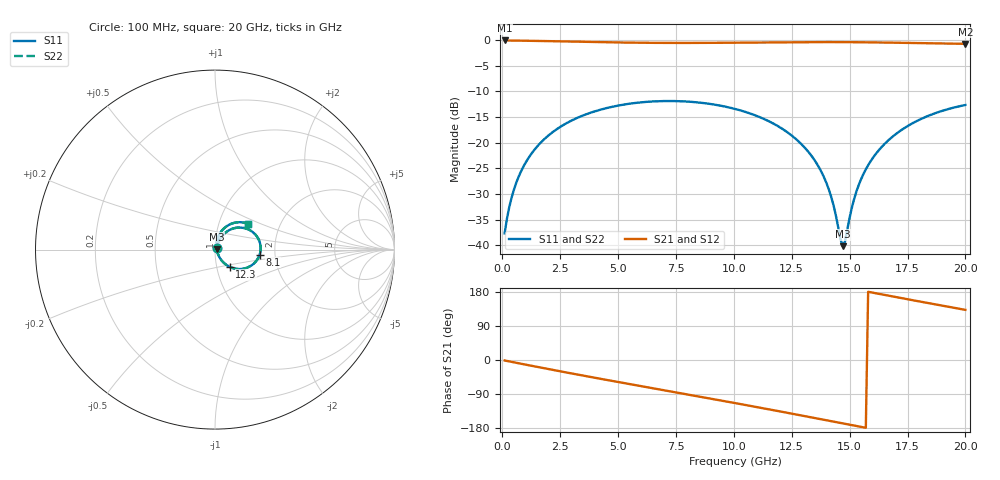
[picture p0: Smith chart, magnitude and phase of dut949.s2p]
! Touchstone file exported from HFSS 2026.1.0
!  File:  C:/ffzhzh/LocalFiles/Ansys_Project_Files/temp_train_TSV_RDL_949_1783282972_38820.aedt
!  Generated:  04:31:47 AM Jul  6, 2026
!  Design:  TSV_RDL
!  Project:  temp_train_TSV_RDL_949_1783282972_38820
! Variables:
!  h_bsmrdl = 5.01um
!  h_ox = 20um
!  h_rdl = 5um
!  h_sub = 85.83um
!  h_tmrdl = 5.79um
!  h_tsv = 85.83um
!  h_via = 3um
!  l_bsmrdl = 240.5um
!  l_sub = 3693.8um
!  l_tmrdl = 611.47um
!  m_sub = 200um
!  pitch = 37.25um
!  r_tsv = 11.6um
!  s_tmrdl = 10um
!  w_bsmrdl = 19.42um
!  w_sub = 500um
!  w_tmrdl = 22.72um
!  x_tsv_center1 = 622.83um
!  x_tsv_center2 = 882.75um
!  x_tsv_center3 = 1516.94um
!  x_tsv_center4 = 1776.86um
!  x_tsv_center5 = 2411.05um
!  x_tsv_center6 = 2670.97um
# GHz S MA R 50.000000
! Terminal data exported
! Port[1] = TM_RDL1_1_T1
! Port[2] = TM_RDL5_1_T1
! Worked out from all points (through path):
!   200 points, 100 MHz to 20 GHz, reference 50 ohm
!   highest |S21| = -0.09 dB at 100 MHz (marker M1); lowest = -0.8 dB at 20 GHz (marker M2)
!   group delay of S21, straight-line fit = 31.5 ps
!   lowest |S11| = -40.1 dB at 14.7 GHz (marker M3), VSWR 1.02, Z = 51 + j0.0797 ohm
!   |S11| at or under -10 dB: start of sweep to end of sweep
!   |S22| runs from -40.1 to -11.9 dB; largest |S21 - S12| = 6.5e-14
!   S11 on the Smith chart (normalised r, x): 100 MHz: 1.02, +0.01; 8.1 GHz: 1.66, -0.10; 12.3 GHz: 1.16, -0.23; 20 GHz: 1.37, +0.42
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0.1  0.01306 33.4  0.9892 -1.3  0.9892 -1.3  0.01306 33.4
! Gamma 0 0 0 0
! Port Impedance 50 0 50 0
0.3  0.02355 54.9  0.9875 -3.7  0.9875 -3.7  0.02355 54.9
0.5  0.03477 61.7  0.9864 -6.1  0.9864 -6.1  0.03477 61.7
1.2  0.07485 63.5  0.9817 -14.5  0.9817 -14.5  0.07485 63.5
2.2  0.128 55.2  0.9727 -26.3  0.9727 -26.3  0.128 55.2
3.5  0.1846 41.7  0.9591 -41.3  0.9591 -41.3  0.1846 41.7
5.2  0.234 23.8  0.9444 -60.3  0.9444 -60.3  0.234 23.8
6.8  0.2537 7.2  0.9368 -77.8  0.9368 -77.8  0.2538 7.2
8.1  0.2504 -6.3  0.9358 -92.0  0.9358 -92.0  0.2505 -6.3
10.1  0.2117 -27.1  0.9417 -114.2  0.9417 -114.2  0.2118 -27.1
12.3  0.1269 -49.5  0.9512 -139.2  0.9512 -139.2  0.1269 -49.5
13.4  0.07208 -58.5  0.9538 -152.0  0.9538 -152.0  0.07217 -58.5
14.1  0.03517 -58.1  0.9539 -160.2  0.9539 -160.2  0.03527 -58.0
14.3  0.02483 -53.3  0.9537 -162.5  0.9537 -162.5  0.02494 -53.2
14.7  0.00983 4.6  0.9529 -167.2  0.9529 -167.2  0.009923 4.1
14.8  0.0109 33.8  0.9527 -168.4  0.9527 -168.4  0.01095 33.2
15.2  0.02858 73.2  0.9513 -173.0  0.9513 -173.0  0.02853 73.0
15.5  0.04437 77.1  0.95 -176.5  0.95 -176.5  0.04431 77.0
16  0.07089 76.3  0.9474 177.6  0.9474 177.6  0.07082 76.2
16.7  0.1069 71.1  0.9428 169.5  0.9428 169.5  0.1068 71.1
18.1  0.1708 57.7  0.9316 153.5  0.9316 153.5  0.1707 57.6
20  0.2328 38.2  0.9168 132.3  0.9168 132.3  0.2327 38.1
